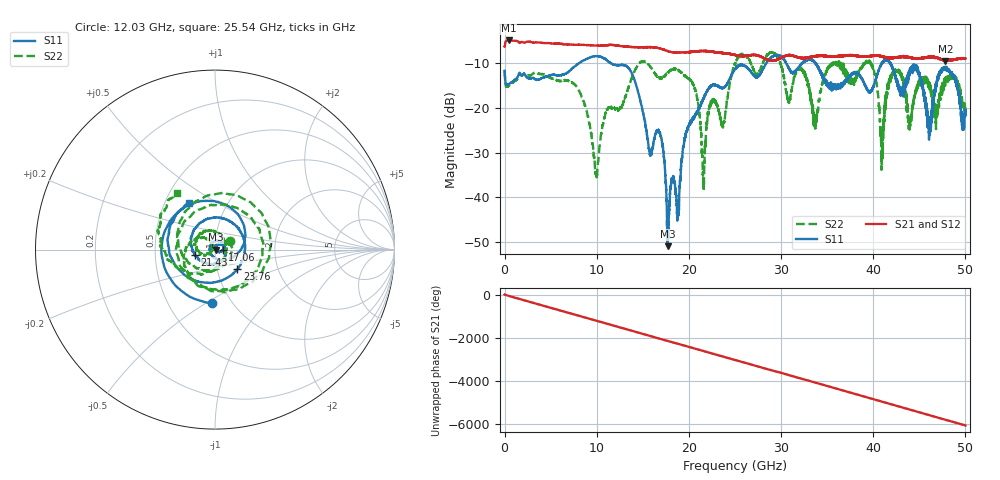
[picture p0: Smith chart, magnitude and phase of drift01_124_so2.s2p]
!Created with skrf (http://scikit-rf.org).
# Hz S RI R 50.0
!freq ReS11 ImS11 ReS21 ImS21 ReS12 ImS12 ReS22 ImS22
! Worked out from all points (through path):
!   10001 points, 300 kHz to 50 GHz, reference 50 ohm
!   highest |S21| = -5.05 dB at 445.3 MHz (marker M1); lowest = -9.6 dB at 47.83 GHz (marker M2)
!   group delay of S21, straight-line fit = 336 ps
!   lowest |S11| = -50.8 dB at 17.7 GHz (marker M3), VSWR 1.01, Z = 50.3 - j0.0466 ohm
!   |S11| at or under -10 dB: start of sweep to 8.165 GHz; 11.44 GHz to 28.42 GHz (16.98 GHz wide, 85.2 % of centre); 41.8 GHz to end of sweep (the widest 3 of 11)
!   |S22| runs from -38.5 to -7.7 dB; largest |S21 - S12| = 0.016
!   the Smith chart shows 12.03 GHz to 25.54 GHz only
!   S11 on the Smith chart (normalised r, x): 12.03 GHz: 0.81, -0.53; 17.06 GHz: 1.09, -0.01; 21.43 GHz: 0.80, -0.05; 23.76 GHz: 1.25, -0.28; 25.54 GHz: 0.66, +0.38
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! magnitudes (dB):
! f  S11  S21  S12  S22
! 300 kHz  -11.8  -6.4  -6.5  -11.7
! 445.3 MHz  -14.8  -5.1  -5.1  -15.2
! 8.335 GHz  -9.8  -6.0  -6.0  -17.5
! 9.94 GHz  -8.5  -6.2  -6.2  -34.5
! 12.03 GHz  -10.5  -6.1  -6.1  -20.4
! 16.67 GHz  -25.0  -6.7  -6.7  -13.3
! 17.06 GHz  -27.5  -7.0  -7.0  -13.4
! 17.7 GHz  -50.8  -7.4  -7.4  -12.2
! 20.5 GHz  -22.3  -7.6  -7.5  -14.9
! 21.43 GHz  -18.7  -7.4  -7.4  -30.2
! 22.47 GHz  -15.1  -7.5  -7.6  -19.1
! 23.76 GHz  -15.6  -7.9  -7.9  -23.7
! 25 GHz  -11.4  -8.3  -8.3  -10.3
! 25.54 GHz  -10.5  -8.5  -8.5  -8.4
! 33.34 GHz  -9.4  -8.7  -8.7  -19.4
! 39.48 GHz  -16.3  -8.6  -8.6  -9.9
! 40.95 GHz  -10.2  -8.6  -8.6  -30.4
! 41.67 GHz  -9.6  -8.8  -9.0  -14.8
! 44.72 GHz  -11.3  -9.1  -9.1  -15.9
! 46.11 GHz  -23.7  -8.8  -8.8  -15.2
! 47.83 GHz  -11.1  -9.6  -9.5  -13.8
! 50 GHz  -21.7  -9.1  -9.1  -20.5
